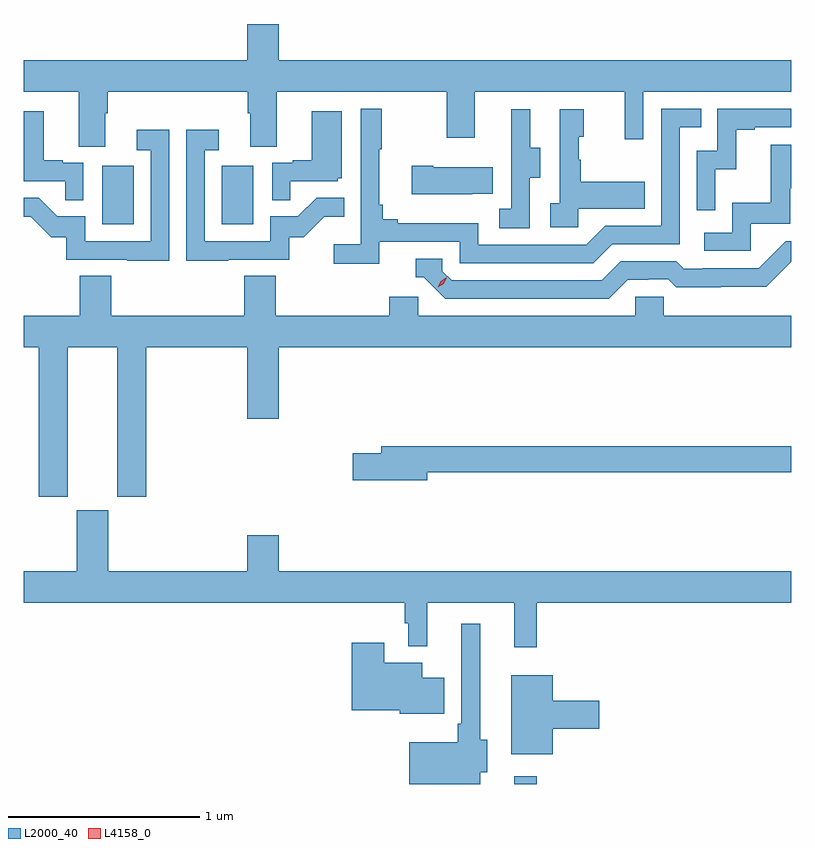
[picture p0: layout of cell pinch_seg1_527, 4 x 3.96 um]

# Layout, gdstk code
import gdstk
lib = gdstk.Library(unit=1e-6, precision=1e-09)
def R(c, l, rs):  # rectangles x0, y0, x1, y1
    for r in rs: c.add(gdstk.rectangle(r[:2], r[2:], *l))
def P(c, l, *ps):  # polygons
    for p in ps: c.add(gdstk.Polygon(p, *l))
L2000_40 = (2000, 40)
L4158_0 = (4158, 0)

pinch_seg1_527 = lib.new_cell('pinch_seg1_527')
R(pinch_seg1_527, L2000_40, [(1017.548,528.143,1017.665,528.184), (1015.4,531.06,1015.564,531.367), (1016.024,531.06,1016.188,531.367)])
P(pinch_seg1_527, L2000_40, [(1015.417,531.64),(1015.43,531.64),(1015.43,531.752),(1016.159,531.752),(1016.159,531.64),(1016.171,531.64),(1016.171,531.466),(1016.311,531.466),(1016.311,531.752),(1017.196,531.752),(1017.196,531.513),(1017.343,531.513),(1017.343,531.752),(1018.124,531.752),(1018.124,531.504),(1018.221,531.504),(1018.221,531.752),(1018.992,531.752),(1018.992,531.916),(1016.32,531.916),(1016.32,532.105),(1016.156,532.105),(1016.156,531.916),(1014.992,531.916),(1014.992,531.752),(1015.277,531.752),(1015.277,531.466),(1015.417,531.466)],
  [(1016.846,530.97),(1017.264,530.97),(1017.264,530.859),(1017.961,530.859),(1018.06,530.958),(1018.41,530.958),(1018.41,531.567),(1018.523,531.567),(1018.523,531.663),(1018.314,531.663),(1018.314,531.054),(1018.023,531.054),(1017.924,530.955),(1017.36,530.955),(1017.36,531.067),(1016.941,531.067),(1016.941,531.086),(1016.864,531.086),(1016.864,531.163),(1016.845,531.163),(1016.845,531.451),(1016.857,531.451),(1016.857,531.664),(1016.748,531.664),(1016.748,530.956),(1016.607,530.956),(1016.607,530.854),(1016.846,530.854)],
  [(1018.596,531.347),(1018.706,531.347),(1018.706,531.555),(1018.801,531.555),(1018.801,531.567),(1018.992,531.567),(1018.992,531.663),(1018.608,531.663),(1018.608,531.444),(1018.5,531.444),(1018.5,531.135),(1018.596,531.135)],
  [(1017.882,531.143),(1018.229,531.143),(1018.229,531.283),(1017.895,531.283),(1017.895,531.398),(1017.885,531.398),(1017.885,531.516),(1017.91,531.516),(1017.91,531.661),(1017.786,531.661),(1017.786,531.17),(1017.735,531.17),(1017.735,531.045),(1017.882,531.045)],
  [(1017.63,531.304),(1017.685,531.304),(1017.685,531.459),(1017.631,531.459),(1017.631,531.661),(1017.533,531.661),(1017.533,531.447),(1017.534,531.447),(1017.534,531.143),(1017.471,531.143),(1017.471,531.04),(1017.63,531.04)],
  [(1015.302,531.381),(1015.196,531.381),(1015.196,531.394),(1015.096,531.394),(1015.096,531.649),(1014.992,531.649),(1014.992,531.285),(1015.207,531.285),(1015.207,531.187),(1015.302,531.187)],
  [(1016.381,531.285),(1016.628,531.285),(1016.628,531.3),(1016.65,531.3),(1016.65,531.649),(1016.492,531.649),(1016.492,531.394),(1016.393,531.394),(1016.393,531.381),(1016.286,531.381),(1016.286,531.187),(1016.381,531.187)],
  [(1015.749,531.553),(1015.581,531.553),(1015.581,531.447),(1015.653,531.447),(1015.653,530.973),(1015.311,530.973),(1015.311,531.102),(1015.167,531.102),(1015.069,531.2),(1014.992,531.2),(1014.992,531.101),(1015.029,531.101),(1015.136,530.994),(1015.213,530.994),(1015.213,530.877),(1015.531,530.877),(1015.531,530.872),(1015.749,530.872)],
  [(1016.057,530.877),(1016.376,530.877),(1016.376,530.994),(1016.452,530.994),(1016.559,531.101),(1016.663,531.101),(1016.663,531.2),(1016.519,531.2),(1016.421,531.102),(1016.277,531.102),(1016.277,530.973),(1015.935,530.973),(1015.935,531.447),(1016.008,531.447),(1016.008,531.553),(1015.839,531.553),(1015.839,530.872),(1016.057,530.872)],
  [(1018.782,531.063),(1018.987,531.063),(1018.987,531.249),(1018.992,531.249),(1018.992,531.475),(1018.885,531.475),(1018.885,531.172),(1018.686,531.172),(1018.686,531.018),(1018.539,531.018),(1018.539,530.922),(1018.782,530.922)],
  [(1017.329,531.221),(1017.437,531.221),(1017.437,531.358),(1017.127,531.358),(1017.127,531.366),(1017.015,531.366),(1017.015,531.218),(1017.329,531.218)],
  [(1018.141,530.772),(1018.248,530.772),(1018.248,530.775),(1018.351,530.775),(1018.393,530.733),(1018.626,530.733),(1018.626,530.735),(1018.862,530.735),(1018.992,530.865),(1018.992,530.973),(1018.965,530.973),(1018.824,530.832),(1018.531,530.832),(1018.531,530.829),(1018.432,530.829),(1018.393,530.868),(1018.104,530.868),(1018.005,530.769),(1017.222,530.769),(1017.174,530.817),(1017.174,530.88),(1017.035,530.88),(1017.035,530.784),(1017.078,530.784),(1017.189,530.673),(1018.042,530.673)],
  [(1015.222,530.42),(1015.478,530.42),(1015.478,529.641),(1015.631,529.641),(1015.631,530.42),(1016.156,530.42),(1016.156,530.046),(1016.32,530.046),(1016.32,530.42),(1018.992,530.42),(1018.992,530.584),(1018.329,530.584),(1018.329,530.682),(1018.179,530.682),(1018.179,530.584),(1017.048,530.584),(1017.048,530.682),(1016.897,530.682),(1016.897,530.584),(1016.306,530.584),(1016.306,530.792),(1016.141,530.792),(1016.141,530.584),(1015.448,530.584),(1015.448,530.792),(1015.283,530.792),(1015.283,530.584),(1014.992,530.584),(1014.992,530.42),(1015.07,530.42),(1015.07,529.641),(1015.222,529.641)],
  [(1017.094,529.768),(1018.992,529.768),(1018.992,529.904),(1016.855,529.904),(1016.855,529.868),(1016.706,529.868),(1016.706,529.726),(1017.094,529.726)],
  [(1017.665,529.088),(1018.992,529.088),(1018.992,529.252),(1016.32,529.252),(1016.32,529.441),(1016.156,529.441),(1016.156,529.252),(1015.432,529.252),(1015.432,529.569),(1015.268,529.569),(1015.268,529.252),(1014.992,529.252),(1014.992,529.088),(1016.977,529.088),(1016.977,528.981),(1016.997,528.981),(1016.997,528.86),(1017.095,528.86),(1017.095,529.088),(1017.548,529.088),(1017.548,528.855),(1017.665,528.855)],
  [(1017.37,528.203),(1017.409,528.203),(1017.409,528.374),(1017.37,528.374),(1017.37,528.979),(1017.273,528.979),(1017.273,528.457),(1017.253,528.457),(1017.253,528.361),(1017,528.361),(1017,528.143),(1017.37,528.143)],
  [(1017.184,528.697),(1017.07,528.697),(1017.07,528.775),(1016.872,528.775),(1016.872,528.88),(1016.702,528.88),(1016.702,528.527),(1016.952,528.527),(1016.952,528.509),(1017.184,528.509)],
  [(1017.748,528.431),(1017.991,528.431),(1017.991,528.578),(1017.748,528.578),(1017.748,528.709),(1017.533,528.709),(1017.533,528.299),(1017.748,528.299)])
P(pinch_seg1_527, L4158_0, [(1017.149,530.733),(1017.149,530.733),(1017.165,530.765),(1017.196,530.785),(1017.196,530.785),(1017.196,530.784),(1017.18,530.752),(1017.149,530.733)])

lib.write_gds('pinch_seg1_527.gds')
